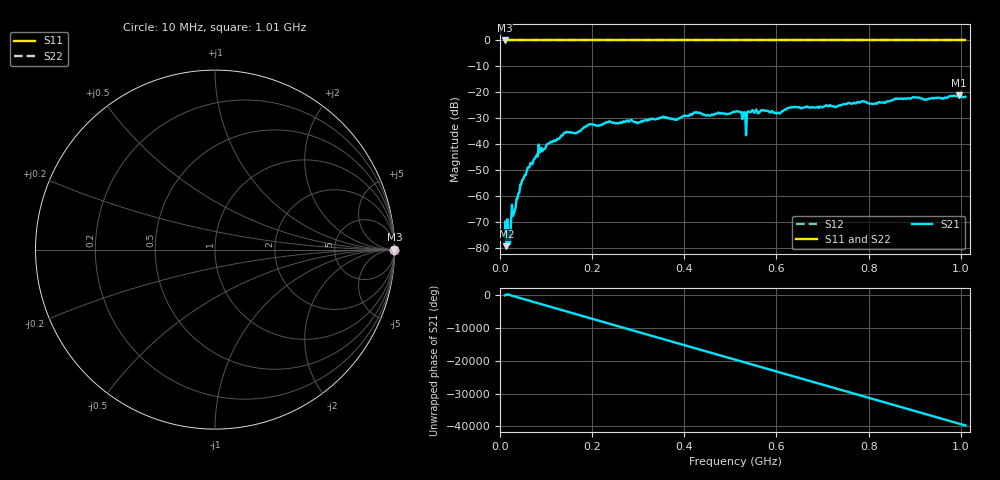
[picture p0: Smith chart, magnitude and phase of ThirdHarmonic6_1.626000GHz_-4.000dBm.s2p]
! 8/16/2025 7:25:28 PM
! C:\ANRITSUVNA\TEMP\TEMP.S2P
! CHANNEL.1
! TR.MEASUREMENT
! RAW.DATA
! RF.CORRECTION.OFF
! AVERAGING.OFF
! IF.BANDWIDTH: 5KHZ
! SWEEPTYPE:  FREQ.SWEEP(Linear)
! Reference Plane Port Info
! PORT:  PORT1  PORT2
! DISTANCE:  0  m  0  m
! TIME:  0  s  0  s
! PHASE.OFFSET:  0  deg.  0  deg.
! LOSS:  0  dB  0  dB
! REF.LOSS:  0  dB  0  dB
! REF.FREQ:  0  Hz  0  Hz
! Power Info
! POWER:  -20  dBm  -20  dBm
! EFF.POWER:  -20  dBm  -20  dBm
! SOURCE.ATTEN:  0  dB  0  dB
! TEST.ATTEN:  0  dB  0  dB
# GHZ S RI R 50.0
! FREQ.GHZ  S11RE  S11IM  S21RE  S21IM  S12RE  S12IM  S22RE  S22IM
!; PortSelection: Port_12
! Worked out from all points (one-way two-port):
!   501 points, 10 MHz to 1.01 GHz, reference 50 ohm
!   highest |S21| = -21.18 dB at 996 MHz (marker M1); lowest = -79.3 dB at 14 MHz (marker M2)
!   lowest |S11| = 0.0 dB at 10 MHz (marker M3)
!   |S11| at or under -10 dB: nowhere
!   |S22| runs from 0.0 to 0.0 dB; largest |S21 - S12| = 1.1
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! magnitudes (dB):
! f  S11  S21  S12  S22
! 10 MHz  0.0  -75.8  0.0  0.0
! 14 MHz  0.0  -79.3  0.0  0.0
! 18 MHz  0.0  -74.2  0.0  0.0
! 24 MHz  0.0  -69.5  0.0  0.0
! 28 MHz  0.0  -67.7  0.0  0.0
! 48 MHz  0.0  -53.8  0.0  0.0
! 80 MHz  0.0  -44.0  0.0  0.0
! 142 MHz  0.0  -35.7  0.0  0.0
! 178 MHz  0.0  -34.1  0.0  0.0
! 196 MHz  0.0  -32.3  0.0  0.0
! 344 MHz  0.0  -30.2  0.0  0.0
! 382 MHz  0.0  -30.4  0.0  0.0
! 510 MHz  0.0  -27.5  0.0  0.0
! 528 MHz  0.0  -27.8  0.0  0.0
! 530 MHz  0.0  -27.7  0.0  0.0
! 544 MHz  0.0  -27.7  0.0  0.0
! 604 MHz  0.0  -27.8  0.0  0.0
! 632 MHz  0.0  -25.7  0.0  0.0
! 678 MHz  0.0  -25.7  0.0  0.0
! 844 MHz  0.0  -23.5  0.0  0.0
! 996 MHz  0.0  -21.2  0.0  0.0
! 1.01 GHz  0.0  -21.7  0.0  0.0
